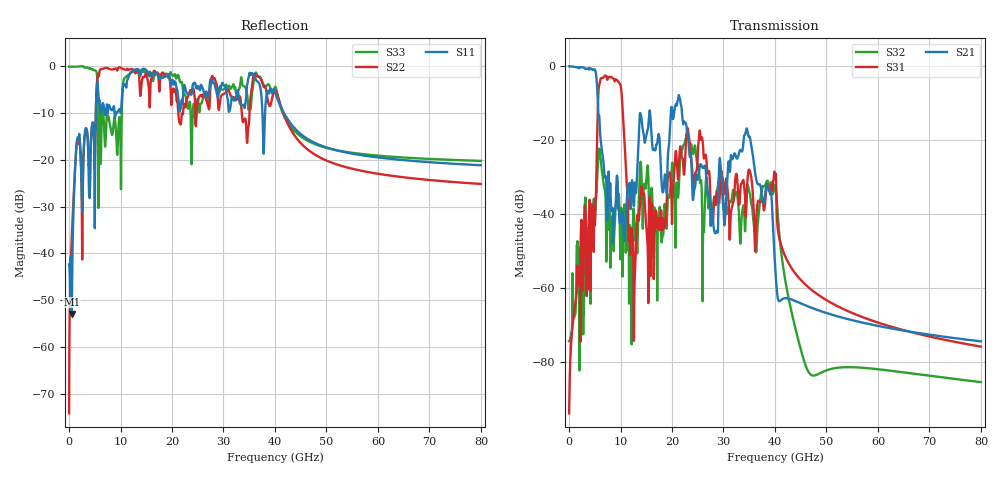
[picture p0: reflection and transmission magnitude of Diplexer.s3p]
# Hz S DB R 50
!Touchstone multiport model file <C:\work\PySI\TestSignalIntegrity\OysterSimulation\ResampledSimbeor\Diplexer.s3p>
!Created on 22 Aug 18, at 17:55:31.
!Created with Simbeor THz 2018.01(64bit) of Simberian Inc. built on Jul 20 2018
!Output from MultiportParameters of Simbeor.
!Multiport parameters: DataOrigin=Simulation DataOriginName="Project(1).Diplexer_resampled.LNS"
!RESAMPLED_RCM: Max_RMS_Error=0.0164861; FrqLow=0; FrqHigh=4e+10; MaxTimeResolution=1.25e-11; PassivityState=1; ReciprocityState=1; DataSource="l°n"
!RATIONAL COMPACTOR: Precision: Normal; Extract Delay: ON; Extrapolate to DC: ON; Extrapolate to Infinity: OFF; Enforce Passivity: ON; Enforce Reciprocity: ON; Band Limit Factor: 1; Auto-Adjust Config: OFF
!Uncomment the following lines with keywords in square brakets to support IBIS forum specification 2.0.
![Version] 2.0 !This line should be the first in file, preceeding the line starting with #.
![Number of Ports] 3
![Number of Frequencies] 8001
![Reference] 50 50 50
!!!!Multiport descriptor profile: InputCount=3 TotalPortCount=3
!DescriptorOutline={DescriptorType=SMatrix InputSpace=Terminal NormalizationType=CommonZo NormalizationCommonZo=50 Ohm OutputFormat=DBMagnitudeAngle}
!InputProfile={Name="IO1" IsTLineInput=False InputNumber=1 PortCount=1 FirstPortNumber=1 InputSpace=Terminal BlockType=SBlock NormalizationType=CommonZo Zo=50}
!InputProfile={Name="IO2" IsTLineInput=False InputNumber=2 PortCount=1 FirstPortNumber=2 InputSpace=Terminal BlockType=SBlock NormalizationType=CommonZo Zo=50}
!InputProfile={Name="IO3" IsTLineInput=False InputNumber=3 PortCount=1 FirstPortNumber=3 InputSpace=Terminal BlockType=SBlock NormalizationType=CommonZo Zo=50}
!!!Global port number to input_name/local_port_number correspondence:
!Port 1 -> "IO1"/local_port_1 (terminal)
!Port 2 -> "IO2"/local_port_1 (terminal)
!Port 3 -> "IO3"/local_port_1 (terminal)
!!!!End of descriptor profile.
!Frequency Hz 20.0*log(|S[1,1]|) arg(S[1,1]) 20.0*log(|S[1,2]|) arg(S[1,2]) 20.0*log(|S[1,3]|) arg(S[1,3])
!  20.0*log(|S[2,1]|) arg(S[2,1]) 20.0*log(|S[2,2]|) arg(S[2,2]) 20.0*log(|S[2,3]|) arg(S[2,3])
!  20.0*log(|S[3,1]|) arg(S[3,1]) 20.0*log(|S[3,2]|) arg(S[3,2]) 20.0*log(|S[3,3]|) arg(S[3,3])
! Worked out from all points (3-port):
!   8000 points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, 10 MHz to 80 GHz, reference 50 ohm
!   strongest paths, dB at 10 MHz, 20.01 GHz, 40.01 GHz, 60.01 GHz, 80 GHz:
!     S21: -0.1, -11.6, -53.8, -70.4, -74.5
!     S31: -94.0, -42.5, -30.1, -69.5, -76.0
!     S32: -74.5, -26.4, -32.2, -82.1, -85.6
!   lowest |S11| = -52.9 dB at 520 MHz (marker M1), VSWR 1.00, Z = 49.9 - j0.215 ohm
!   |S11| at or under -10 dB: start of sweep to 5.198 GHz; 37.56 GHz to 38.07 GHz (514.7 MHz wide, 1.36 % of centre); 41.74 GHz to end of sweep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
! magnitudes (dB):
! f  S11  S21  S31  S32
! 10 MHz  -42.3  -0.1  -94.0  -74.5
! 520 MHz  -52.9  -0.1  -72.8  -71.9
! 6.52 GHz  -7.9  -24.1  -3.2  -29.9
! 9.97 GHz  -9.8  -42.3  -5.1  -51.8
! 12.65 GHz  -0.8  -36.9  -64.2  -41.4
! 23.05 GHz  -5.9  -18.4  -17.0  -18.3
! 34.56 GHz  -4.1  -17.0  -33.0  -33.5
! 40.01 GHz  -5.6  -53.8  -30.1  -32.2
! 45.89 GHz  -15.2  -64.8  -59.1  -80.8
! 80 GHz  -21.2  -74.5  -76.0  -85.6
